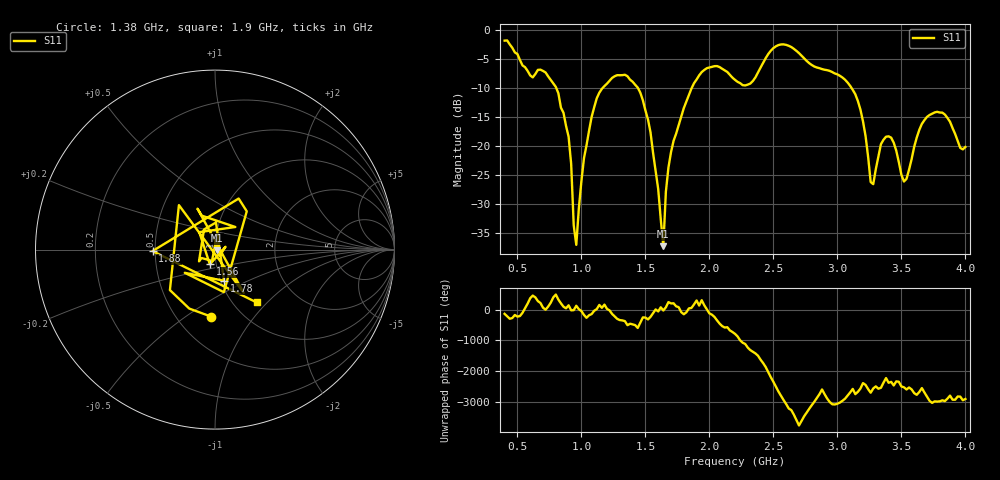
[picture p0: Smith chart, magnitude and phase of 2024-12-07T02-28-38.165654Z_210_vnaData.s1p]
!Created with skrf (http://scikit-rf.org).
# Hz S RI R 50.0
!freq ReS11 ImS11
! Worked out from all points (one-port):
!   181 points, 400 MHz to 4 GHz, reference 50 ohm
!   lowest |S11| = -37.3 dB at 1.64 GHz (marker M1), VSWR 1.03, Z = 51.3 - j0.466 ohm
!   |S11| at or under -10 dB: 803.6 MHz to 1.166 GHz (362.2 MHz wide, 36.8 % of centre); 1.442 GHz to 1.862 GHz (419.8 MHz wide, 25.4 % of centre); 3.111 GHz to end of sweep
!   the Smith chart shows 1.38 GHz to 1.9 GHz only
!   S11 on the Smith chart (normalised r, x): 1.38 GHz: 0.73, -0.63; 1.56 GHz: 0.93, -0.15; 1.78 GHz: 1.04, -0.37; 1.88 GHz: 0.48, -0.01; 1.9 GHz: 1.27, -0.87
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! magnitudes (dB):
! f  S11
! 400 MHz  -1.8
! 720 MHz  -7.3
! 860 MHz  -14.3
! 900 MHz  -18.4
! 960 MHz  -37.1
! 1.02 GHz  -22.1
! 1.08 GHz  -15.0
! 1.3 GHz  -7.8
! 1.38 GHz  -8.6
! 1.48 GHz  -12.1
! 1.56 GHz  -21.2
! 1.64 GHz  -37.3
! 1.68 GHz  -23.7
! 1.76 GHz  -16.4
! 1.78 GHz  -14.9
! 1.88 GHz  -9.2
! 1.9 GHz  -8.5
! 2.2 GHz  -8.6
! 2.66 GHz  -3.2
! 3.1 GHz  -9.6
! 3.2 GHz  -15.8
! 3.26 GHz  -26.2
! 3.38 GHz  -18.4
! 3.52 GHz  -26.1
! 3.56 GHz  -24.1
! 3.66 GHz  -16.2
! 3.76 GHz  -14.2
! 4 GHz  -20.2
